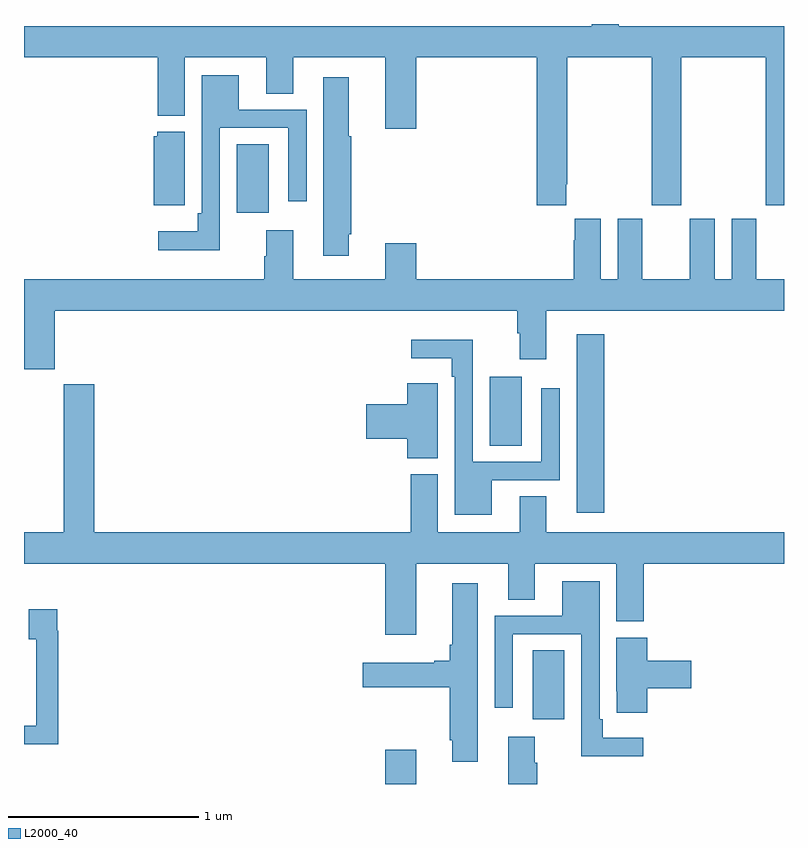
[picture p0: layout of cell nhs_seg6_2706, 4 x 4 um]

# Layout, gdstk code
import gdstk
lib = gdstk.Library(unit=1e-6, precision=1e-09)
def R(c, l, rs):  # rectangles x0, y0, x1, y1
    for r in rs: c.add(gdstk.rectangle(r[:2], r[2:], *l))
def P(c, l, *ps):  # polygons
    for p in ps: c.add(gdstk.Polygon(p, *l))
L2000_40 = (2000, 40)

nhs_seg6_2706 = lib.new_cell('nhs_seg6_2706')
R(nhs_seg6_2706, L2000_40, [(272.9,955.5,273.064,955.681), (273.677,955.842,273.844,956.204), (273.908,956.928,274.055,957.868), (273.452,957.28,273.619,957.643), (272.12,958.506,272.287,958.868)])
P(nhs_seg6_2706, L2000_40, [(273.853,958.657),(273.858,958.657),(273.858,959.324),(274.303,959.324),(274.303,958.545),(274.458,958.545),(274.458,959.324),(274.903,959.324),(274.903,958.545),(275,958.545),(275,959.488),(274.129,959.488),(274.129,959.5),(273.989,959.5),(273.989,959.488),(271,959.488),(271,959.324),(271.703,959.324),(271.703,959.018),(271.846,959.018),(271.846,959.324),(272.276,959.324),(272.276,959.134),(272.416,959.134),(272.416,959.324),(272.9,959.324),(272.9,958.95),(273.064,958.95),(273.064,959.324),(273.698,959.324),(273.698,958.545),(273.853,958.545)],
  [(272.031,958.953),(272.391,958.953),(272.391,958.566),(272.487,958.566),(272.487,959.049),(272.131,959.049),(272.131,959.23),(271.935,959.23),(271.935,958.504),(271.915,958.504),(271.915,958.408),(271.707,958.408),(271.707,958.31),(272.031,958.31)],
  [(272.71,958.393),(272.723,958.393),(272.723,958.908),(272.71,958.908),(272.71,959.221),(272.576,959.221),(272.576,958.281),(272.71,958.281)],
  [(271.846,958.933),(271.701,958.933),(271.701,958.908),(271.682,958.908),(271.682,958.547),(271.846,958.547)],
  [(271.162,957.992),(273.596,957.992),(273.596,957.872),(273.608,957.872),(273.608,957.735),(273.748,957.735),(273.748,957.992),(275,957.992),(275,958.156),(274.855,958.156),(274.855,958.474),(274.724,958.474),(274.724,958.156),(274.636,958.156),(274.636,958.474),(274.505,958.474),(274.505,958.156),(274.255,958.156),(274.255,958.474),(274.124,958.474),(274.124,958.156),(274.036,958.156),(274.036,958.474),(273.899,958.474),(273.899,958.361),(273.893,958.361),(273.893,958.156),(273.064,958.156),(273.064,958.345),(272.9,958.345),(272.9,958.156),(272.416,958.156),(272.416,958.414),(272.276,958.414),(272.276,958.277),(272.264,958.277),(272.264,958.156),(271,958.156),(271,957.683),(271.162,957.683)],
  [(273.463,957.099),(273.819,957.099),(273.819,957.583),(273.723,957.583),(273.723,957.195),(273.363,957.195),(273.363,957.838),(273.039,957.838),(273.039,957.74),(273.251,957.74),(273.251,957.644),(273.267,957.644),(273.267,956.918),(273.463,956.918)],
  [(273.178,957.497),(273.177,957.497),(273.177,957.61),(273.017,957.61),(273.017,957.5),(272.802,957.5),(272.802,957.317),(273.017,957.317),(273.017,957.214),(273.178,957.214)],
  [(273.064,956.66),(273.548,956.66),(273.548,956.47),(273.688,956.47),(273.688,956.66),(274.118,956.66),(274.118,956.356),(274.262,956.356),(274.262,956.66),(275,956.66),(275,956.824),(273.748,956.824),(273.748,957.014),(273.608,957.014),(273.608,956.824),(273.178,956.824),(273.178,957.129),(273.035,957.129),(273.035,956.824),(271.37,956.824),(271.37,957.604),(271.21,957.604),(271.21,956.824),(271,956.824),(271,956.66),(272.9,956.66),(272.9,956.286),(273.064,956.286)],
  [(274.258,955.744),(274.045,955.744),(274.045,955.84),(274.029,955.84),(274.029,956.566),(273.833,956.566),(273.833,956.385),(273.477,956.385),(273.477,955.902),(273.573,955.902),(273.573,956.289),(273.933,956.289),(273.933,955.646),(274.258,955.646)],
  [(273.388,956.557),(273.254,956.557),(273.254,956.233),(273.242,956.233),(273.242,956.15),(273.158,956.15),(273.158,956.137),(272.784,956.137),(272.784,956.008),(273.242,956.008),(273.242,955.729),(273.254,955.729),(273.254,955.617),(273.388,955.617)],
  [(271.181,956.306),(271.174,956.306),(271.174,956.419),(271.025,956.419),(271.025,956.263),(271.065,956.263),(271.065,955.806),(271,955.806),(271,955.709),(271.181,955.709)],
  [(274.28,956.003),(274.513,956.003),(274.513,956.15),(274.28,956.15),(274.28,956.271),(274.118,956.271),(274.118,955.987),(274.119,955.987),(274.119,955.875),(274.28,955.875)],
  [(273.548,955.75),(273.548,955.5),(273.701,955.5),(273.701,955.613),(273.688,955.613),(273.688,955.75)])

lib.write_gds('nhs_seg6_2706.gds')
